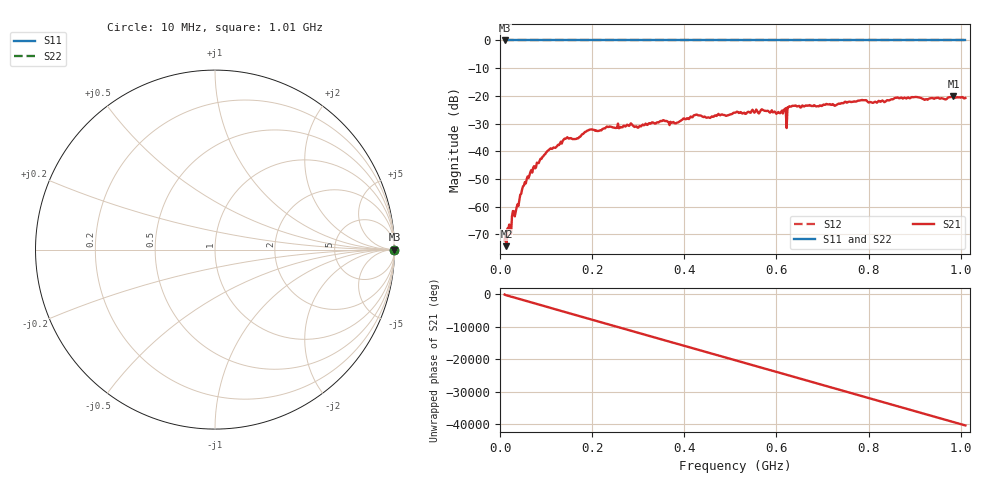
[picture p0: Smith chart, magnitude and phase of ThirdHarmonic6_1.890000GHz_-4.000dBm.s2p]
! 8/16/2025 10:49:14 PM
! C:\ANRITSUVNA\TEMP\TEMP.S2P
! CHANNEL.1
! TR.MEASUREMENT
! RAW.DATA
! RF.CORRECTION.OFF
! AVERAGING.OFF
! IF.BANDWIDTH: 5KHZ
! SWEEPTYPE:  FREQ.SWEEP(Linear)
! Reference Plane Port Info
! PORT:  PORT1  PORT2
! DISTANCE:  0  m  0  m
! TIME:  0  s  0  s
! PHASE.OFFSET:  0  deg.  0  deg.
! LOSS:  0  dB  0  dB
! REF.LOSS:  0  dB  0  dB
! REF.FREQ:  0  Hz  0  Hz
! Power Info
! POWER:  -20  dBm  -20  dBm
! EFF.POWER:  -20  dBm  -20  dBm
! SOURCE.ATTEN:  0  dB  0  dB
! TEST.ATTEN:  0  dB  0  dB
# GHZ S RI R 50.0
! FREQ.GHZ  S11RE  S11IM  S21RE  S21IM  S12RE  S12IM  S22RE  S22IM
!; PortSelection: Port_12
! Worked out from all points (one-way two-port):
!   501 points, 10 MHz to 1.01 GHz, reference 50 ohm
!   highest |S21| = -20.23 dB at 984 MHz (marker M1); lowest = -74.2 dB at 14 MHz (marker M2)
!   lowest |S11| = 0.0 dB at 10 MHz (marker M3)
!   |S11| at or under -10 dB: nowhere
!   |S22| runs from 0.0 to 0.0 dB; largest |S21 - S12| = 1.1
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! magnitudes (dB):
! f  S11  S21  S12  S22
! 10 MHz  0.0  -72.1  0.0  0.0
! 14 MHz  0.0  -74.2  0.0  0.0
! 30 MHz  0.0  -61.6  0.0  0.0
! 36 MHz  0.0  -60.3  0.0  0.0
! 50 MHz  0.0  -52.6  0.0  0.0
! 70 MHz  0.0  -47.7  0.0  0.0
! 106 MHz  0.0  -39.5  0.0  0.0
! 142 MHz  0.0  -35.5  0.0  0.0
! 178 MHz  0.0  -33.9  0.0  0.0
! 196 MHz  0.0  -32.2  0.0  0.0
! 344 MHz  0.0  -29.6  0.0  0.0
! 382 MHz  0.0  -29.9  0.0  0.0
! 424 MHz  0.0  -26.9  0.0  0.0
! 452 MHz  0.0  -27.8  0.0  0.0
! 510 MHz  0.0  -26.1  0.0  0.0
! 616 MHz  0.0  -25.0  0.0  0.0
! 618 MHz  0.0  -24.8  0.0  0.0
! 632 MHz  0.0  -23.9  0.0  0.0
! 678 MHz  0.0  -23.6  0.0  0.0
! 844 MHz  0.0  -21.6  0.0  0.0
! 984 MHz  0.0  -20.2  0.0  0.0
! 1.01 GHz  0.0  -20.8  0.0  0.0
